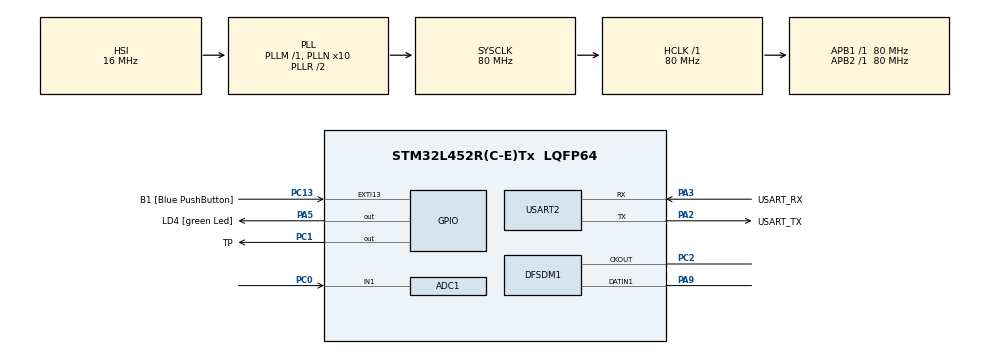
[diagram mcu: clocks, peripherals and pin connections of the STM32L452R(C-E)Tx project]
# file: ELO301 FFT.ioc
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ADC1.Channel-0\#ChannelRegularConversion=ADC_CHANNEL_1
ADC1.ClockPrescaler=ADC_CLOCK_ASYNC_DIV128
ADC1.ContinuousConvMode=ENABLE
ADC1.NbrOfConversionFlag=1
ADC1.OffsetNumber-0\#ChannelRegularConversion=ADC_OFFSET_NONE
ADC1.Rank-0\#ChannelRegularConversion=1
ADC1.SamplingTime-0\#ChannelRegularConversion=ADC_SAMPLETIME_12CYCLES_5
ADC1.master=1
DFSDM1.Filter_regChannel_FIL0=DFSDM_CHANNEL_0
DFSDM1.Fosr_FIL0=500
Mcu.Family=STM32L4
Mcu.Name=STM32L452R(C-E)Tx
Mcu.Package=LQFP64
NVIC.ADC1_IRQn=true\:0\:0\:false\:false\:true\:true\:true\:true
NVIC.DFSDM1_FLT0_IRQn=true\:0\:0\:false\:false\:true\:true\:true\:true
NVIC.PriorityGroup=NVIC_PRIORITYGROUP_4
PA13\ (JTMS/SWDIO).GPIO_Label=TMS
PA13\ (JTMS/SWDIO).Mode=Serial_Wire
PA13\ (JTMS/SWDIO).Signal=SYS_JTMS-SWDIO
PA14\ (JTCK/SWCLK).GPIO_Label=TCK
PA14\ (JTCK/SWCLK).Mode=Serial_Wire
PA14\ (JTCK/SWCLK).Signal=SYS_JTCK-SWCLK
PA2.GPIO_Label=USART_TX
PA2.GPIO_Mode=GPIO_MODE_AF_PP
PA2.GPIO_PuPd=GPIO_NOPULL
PA2.GPIO_Speed=GPIO_SPEED_FREQ_VERY_HIGH
PA2.Mode=Asynchronous
PA2.Signal=USART2_TX
PA3.GPIO_Label=USART_RX
PA3.GPIO_Mode=GPIO_MODE_AF_PP
PA3.GPIO_PuPd=GPIO_NOPULL
PA3.GPIO_Speed=GPIO_SPEED_FREQ_VERY_HIGH
PA3.Mode=Asynchronous
PA3.Signal=USART2_RX
PA5.GPIO_Label=LD4 [green Led]
PA5.GPIO_ModeDefaultOutputPP=GPIO_MODE_OUTPUT_PP
PA5.GPIO_PuPd=GPIO_NOPULL
PA5.GPIO_Speed=GPIO_SPEED_FREQ_LOW
PA5.Signal=GPIO_Output
PA9.Signal=S_DATAIN1DFSDM1
PB3\ (JTDO/TRACESWO).GPIO_Label=SWO
PB3\ (JTDO/TRACESWO).Signal=SYS_JTDO-SWO
PC0.Signal=ADCx_IN1
PC1.GPIO_Label=TP
PC1.Signal=GPIO_Output
PC13.GPIO_Label=B1 [Blue PushButton]
PC13.GPIO_ModeDefaultEXTI=GPIO_MODE_IT_FALLING
PC13.GPIO_PuPd=GPIO_NOPULL
PC13.Signal=GPXTI13
PC14-OSC32_IN\ (PC14).Mode=LSE-External-Oscillator
PC14-OSC32_IN\ (PC14).Signal=RCC_OSC32_IN
PC15-OSC32_OUT\ (PC15).Mode=LSE-External-Oscillator
PC15-OSC32_OUT\ (PC15).Signal=RCC_OSC32_OUT
PC2.Signal=S_CKOUTDFSDM1
PH0-OSC_IN\ (PH0).Signal=RCC_OSC_IN
PH1-OSC_OUT\ (PH1).Signal=RCC_OSC_OUT
ProjectManager.HeapSize=0x200
ProjectManager.StackSize=0x400
ProjectManager.TargetToolchain=STM32CubeIDE
RCC.ADCFreq_Value=64000000
RCC.AHBFreq_Value=80000000
RCC.APB1Freq_Value=80000000
RCC.APB1TimFreq_Value=80000000
RCC.APB2Freq_Value=80000000
RCC.APB2TimFreq_Value=80000000
RCC.CortexFreq_Value=80000000
RCC.HCLKFreq_Value=80000000
RCC.HSE_VALUE=8000000
RCC.HSI48_VALUE=48000000
RCC.HSI_VALUE=16000000
RCC.MSI_VALUE=4000000
RCC.PLLN=10
RCC.PLLSourceVirtual=RCC_PLLSOURCE_HSI
RCC.PREFETCH_ENABLE=1
RCC.SYSCLKFreq_VALUE=80000000
RCC.SYSCLKSource=RCC_SYSCLKSOURCE_PLLCLK
RCC.USBFreq_Value=64000000
RCC.VCOOutputFreq_Value=160000000
SH.ADCx_IN1.0=ADC1_IN1,IN1-Single-Ended
SH.S_CKOUTDFSDM1.0=DFSDM1_CKOUT,PDM_SPI_Input_from_ch01_and_Internal_Clock
SH.S_CKOUTDFSDM1.1=DFSDM1_CKOUT,CKOUT
SH.S_DATAIN1DFSDM1.0=DFSDM1_DATIN1,PDM_SPI_Input_from_ch01_and_Internal_Clock
USART2.VirtualMode-Asynchronous=VM_ASYNC
board=NUCLEO-L452RE

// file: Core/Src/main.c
/* USER CODE BEGIN Header */
/**
  ******************************************************************************
  * @file           : main.c
  * @brief          : Main program body
  ******************************************************************************
  * @attention
  *
  * Copyright (c) 2024 STMicroelectronics.
  * All rights reserved.
  *
  * This software is licensed under terms that can be found in the LICENSE file
  * in the root directory of this software component.
  * If no LICENSE file comes with this software, it is provided AS-IS.
  *
  ******************************************************************************
  */
/* USER CODE END Header */
#include "main.h"

/* USER CODE BEGIN Includes */
#include <stdint.h>
#include <stdio.h>
#include "fft.h"
#include "arm_math.h"
#include "arm_const_structs.h"
/* USER CODE END Includes */

/* USER CODE BEGIN PD */
#define TEST_LENGTH_SAMPLES 2048
#define TOL 2
/* USER CODE END PD */

ADC_HandleTypeDef hadc1;

DFSDM_Filter_HandleTypeDef hdfsdm1_filter0;
DFSDM_Channel_HandleTypeDef hdfsdm1_channel0;

UART_HandleTypeDef huart2;

/* USER CODE BEGIN PV */
/* -------------------------------------------------------------------
* External Input and Output buffer Declarations for FFT Bin Example
* ------------------------------------------------------------------- */
extern float32_t testInput_f32_10khz[TEST_LENGTH_SAMPLES];
static float32_t testOutput[TEST_LENGTH_SAMPLES/2];

uint32_t fftSize = 1024;
uint32_t ifftFlag = 0;
uint32_t doBitReverse = 1;

static uint8_t adc_status = 0;
uint16_t adc_value = 0;
uint8_t mic_status = 0;
float32_t mic_value = 0;

/* Reference index at which max energy of bin ocuurs */
uint32_t refIndex = 213, testIndex = 0;
/* USER CODE END PV */

void SystemClock_Config(void);
static void MX_GPIO_Init(void);
static void MX_USART2_UART_Init(void);
static void MX_ADC1_Init(void);
static void MX_DFSDM1_Init(void);

int main(void)
{

  /* USER CODE BEGIN 1 */
  uint16_t sample_counter = 0;

  /* USER CODE END 1 */

  /* MCU Configuration--------------------------------------------------------*/

  /* Reset of all peripherals, Initializes the Flash interface and the Systick. */
  HAL_Init();

  /* Configure the system clock */
  SystemClock_Config();

  /* Initialize all configured peripherals */
  MX_GPIO_Init();
  MX_USART2_UART_Init();
  MX_ADC1_Init();
  MX_DFSDM1_Init();
  /* USER CODE BEGIN 2 */
  arm_status status;
  float32_t maxValue;

  HAL_DFSDM_FilterRegularStart_IT(&hdfsdm1_filter0);
  status = ARM_MATH_SUCCESS;

#if 0
  /* Process the data through the CFFT/CIFFT module */
  arm_cfft_f32(&arm_cfft_sR_f32_len1024, testInput_f32_10khz, ifftFlag, doBitReverse);

  /* Process the data through the Complex Magnitude Module for
  calculating the magnitude at each bin */
  arm_cmplx_mag_f32(testInput_f32_10khz, testOutput, fftSize);

  /* Calculates maxValue and returns corresponding BIN value */
  arm_max_f32(testOutput, fftSize, &maxValue, &testIndex);

  if (testIndex !=  refIndex)
  {
    status = ARM_MATH_TEST_FAILURE;
  }
#endif
  /* USER CODE END 2 */

  /* Infinite loop */
  /* USER CODE BEGIN WHILE */
  HAL_ADC_Start_IT( &hadc1 );

  while (1)
  {
    if (adc_status == 1)
    {
      /* Start filling testInput_f32_10khz buffer up to sample_counter is full */
      adc_value = HAL_ADC_GetValue( &hadc1 );

#if 1
      testInput_f32_10khz[sample_counter++] = (float32_t)mic_value;//adc_value;
      testInput_f32_10khz[sample_counter++] = 0;
#else
      sample_counter+=2;
#endif
      adc_status = 0;
      /* Check if the input buffer is full */
      if (sample_counter >= TEST_LENGTH_SAMPLES)
      {
        /* Process the data through the CFFT/CIFFT module */
        arm_cfft_f32(&arm_cfft_sR_f32_len1024, testInput_f32_10khz, ifftFlag, doBitReverse);

        /* Process the data through the Complex Magnitude Module for
        calculating the magnitude at each bin */
        arm_cmplx_mag_f32(testInput_f32_10khz, testOutput, fftSize);

        /* Calculates maxValue and returns corresponding BIN value */
        arm_max_f32(testOutput+1, fftSize-1, &maxValue, &testIndex);

        /* Reset the sample counter */
        sample_counter = 0;

        //printf( "%u\t%d\r\n", testIndex, maxValue );

        float32_t fundamental_freq = (float32_t)testIndex * TEST_LENGTH_SAMPLES / fftSize;

        if (fundamental_freq > testOutput[testIndex] + TOL) {
                //HAL_GPIO_WritePin(LED_GPIO_PORT, LED_HIGH_FREQ_PIN, GPIO_PIN_SET);
               //HAL_GPIO_WritePin(LED_GPIO_PORT, LED_LOW_FREQ_PIN, GPIO_PIN_RESET);
                printf("\r\n Frecuencia mayor a referencia\n\r");
                printf("\r\nAmplitud fundamental: %.2f Hz, : %i  \n\n", testOutput[testIndex], testIndex);
            } else if (fundamental_freq < testOutput[testIndex] - TOL) {
            	// HAL_GPIO_WritePin(LED_GPIO_PORT, LED_HIGH_FREQ_PIN, GPIO_PIN_RESET);
            	//HAL_GPIO_WritePin(LED_GPIO_PORT, LED_LOW_FREQ_PIN, GPIO_PIN_SET);
                printf("\r\n Frecuencia menor a referencia\n\r");
                printf("\r\nFrecuencia fundamental: %.2f Hz, f_ref: %i  \n\n", fundamental_freq, testOutput[testIndex]);
            } else {
            	//HAL_GPIO_WritePin(LED_GPIO_PORT, LED_HIGH_FREQ_PIN, GPIO_PIN_SET);
            	//HAL_GPIO_WritePin(LED_GPIO_PORT, LED_LOW_FREQ_PIN, GPIO_PIN_SET);
                printf("\r\n Frecuencia dentro de la tolerancia\n\r");
                printf("\r\nFrecuencia fundamental: %.2f Hz, f_ref: %i  \n\n", fundamental_freq, testOutput[testIndex]);
            }

           HAL_Delay(1000);

        //for(;;);
      }
    }
    /* USER CODE END WHILE */

  }
}

void SystemClock_Config(void)
{
  RCC_OscInitTypeDef RCC_OscInitStruct = {0};
  RCC_ClkInitTypeDef RCC_ClkInitStruct = {0};

  /** Configure the main internal regulator output voltage
  */
  if (HAL_PWREx_ControlVoltageScaling(PWR_REGULATOR_VOLTAGE_SCALE1) != HAL_OK)
  {
    Error_Handler();
  }

  /** Initializes the RCC Oscillators according to the specified parameters
  * in the RCC_OscInitTypeDef structure.
  */
  RCC_OscInitStruct.OscillatorType = RCC_OSCILLATORTYPE_HSI;
  RCC_OscInitStruct.HSIState = RCC_HSI_ON;
  RCC_OscInitStruct.HSICalibrationValue = 64;
  RCC_OscInitStruct.PLL.PLLState = RCC_PLL_ON;
  RCC_OscInitStruct.PLL.PLLSource = RCC_PLLSOURCE_HSI;
  RCC_OscInitStruct.PLL.PLLM = 1;
  RCC_OscInitStruct.PLL.PLLN = 10;
  RCC_OscInitStruct.PLL.PLLP = RCC_PLLP_DIV7;
  RCC_OscInitStruct.PLL.PLLQ = RCC_PLLQ_DIV2;
  RCC_OscInitStruct.PLL.PLLR = RCC_PLLR_DIV2;
  if (HAL_RCC_OscConfig(&RCC_OscInitStruct) != HAL_OK)
  {
    Error_Handler();
  }

  /** Initializes the CPU, AHB and APB buses clocks
  */
  RCC_ClkInitStruct.ClockType = RCC_CLOCKTYPE_HCLK|RCC_CLOCKTYPE_SYSCLK
                              |RCC_CLOCKTYPE_PCLK1|RCC_CLOCKTYPE_PCLK2;
  RCC_ClkInitStruct.SYSCLKSource = RCC_SYSCLKSOURCE_PLLCLK;
  RCC_ClkInitStruct.AHBCLKDivider = RCC_SYSCLK_DIV1;
  RCC_ClkInitStruct.APB1CLKDivider = RCC_HCLK_DIV1;
  RCC_ClkInitStruct.APB2CLKDivider = RCC_HCLK_DIV1;

  if (HAL_RCC_ClockConfig(&RCC_ClkInitStruct, FLASH_LATENCY_4) != HAL_OK)
  {
    Error_Handler();
  }
}

static void MX_ADC1_Init(void)
{

  ADC_ChannelConfTypeDef sConfig = {0};

  /** Common config
  */
  hadc1.Instance = ADC1;
  hadc1.Init.ClockPrescaler = ADC_CLOCK_ASYNC_DIV128;
  hadc1.Init.Resolution = ADC_RESOLUTION_12B;
  hadc1.Init.DataAlign = ADC_DATAALIGN_RIGHT;
  hadc1.Init.ScanConvMode = ADC_SCAN_DISABLE;
  hadc1.Init.EOCSelection = ADC_EOC_SINGLE_CONV;
  hadc1.Init.LowPowerAutoWait = DISABLE;
  hadc1.Init.ContinuousConvMode = ENABLE;
  hadc1.Init.NbrOfConversion = 1;
  hadc1.Init.DiscontinuousConvMode = DISABLE;
  hadc1.Init.ExternalTrigConv = ADC_SOFTWARE_START;
  hadc1.Init.ExternalTrigConvEdge = ADC_EXTERNALTRIGCONVEDGE_NONE;
  hadc1.Init.DMAContinuousRequests = DISABLE;
  hadc1.Init.Overrun = ADC_OVR_DATA_PRESERVED;
  hadc1.Init.OversamplingMode = DISABLE;
  hadc1.Init.DFSDMConfig = ADC_DFSDM_MODE_DISABLE;
  if (HAL_ADC_Init(&hadc1) != HAL_OK)
  {
    Error_Handler();
  }

  /** Configure Regular Channel
  */
  sConfig.Channel = ADC_CHANNEL_1;
  sConfig.Rank = ADC_REGULAR_RANK_1;
  sConfig.SamplingTime = ADC_SAMPLETIME_12CYCLES_5;
  sConfig.SingleDiff = ADC_SINGLE_ENDED;
  sConfig.OffsetNumber = ADC_OFFSET_NONE;
  sConfig.Offset = 0;
  if (HAL_ADC_ConfigChannel(&hadc1, &sConfig) != HAL_OK)
  {
    Error_Handler();
  }

}

static void MX_DFSDM1_Init(void)
{

  hdfsdm1_filter0.Instance = DFSDM1_Filter0;
  hdfsdm1_filter0.Init.RegularParam.Trigger = DFSDM_FILTER_SW_TRIGGER;
  hdfsdm1_filter0.Init.RegularParam.FastMode = DISABLE;
  hdfsdm1_filter0.Init.RegularParam.DmaMode = DISABLE;
  hdfsdm1_filter0.Init.FilterParam.SincOrder = DFSDM_FILTER_FASTSINC_ORDER;
  hdfsdm1_filter0.Init.FilterParam.Oversampling = 500;
  hdfsdm1_filter0.Init.FilterParam.IntOversampling = 1;
  if (HAL_DFSDM_FilterInit(&hdfsdm1_filter0) != HAL_OK)
  {
    Error_Handler();
  }
  hdfsdm1_channel0.Instance = DFSDM1_Channel0;
  hdfsdm1_channel0.Init.OutputClock.Activation = ENABLE;
  hdfsdm1_channel0.Init.OutputClock.Selection = DFSDM_CHANNEL_OUTPUT_CLOCK_SYSTEM;
  hdfsdm1_channel0.Init.OutputClock.Divider = 2;
  hdfsdm1_channel0.Init.Input.Multiplexer = DFSDM_CHANNEL_EXTERNAL_INPUTS;
  hdfsdm1_channel0.Init.Input.DataPacking = DFSDM_CHANNEL_STANDARD_MODE;
  hdfsdm1_channel0.Init.Input.Pins = DFSDM_CHANNEL_FOLLOWING_CHANNEL_PINS;
  hdfsdm1_channel0.Init.SerialInterface.Type = DFSDM_CHANNEL_SPI_RISING;
  hdfsdm1_channel0.Init.SerialInterface.SpiClock = DFSDM_CHANNEL_SPI_CLOCK_INTERNAL;
  hdfsdm1_channel0.Init.Awd.FilterOrder = DFSDM_CHANNEL_FASTSINC_ORDER;
  hdfsdm1_channel0.Init.Awd.Oversampling = 1;
  hdfsdm1_channel0.Init.Offset = 0;
  hdfsdm1_channel0.Init.RightBitShift = 0x00;
  if (HAL_DFSDM_ChannelInit(&hdfsdm1_channel0) != HAL_OK)
  {
    Error_Handler();
  }
  if (HAL_DFSDM_FilterConfigRegChannel(&hdfsdm1_filter0, DFSDM_CHANNEL_0, DFSDM_CONTINUOUS_CONV_ON) != HAL_OK)
  {
    Error_Handler();
  }

}

static void MX_USART2_UART_Init(void)
{

  huart2.Instance = USART2;
  huart2.Init.BaudRate = 115200;
  huart2.Init.WordLength = UART_WORDLENGTH_8B;
  huart2.Init.StopBits = UART_STOPBITS_1;
  huart2.Init.Parity = UART_PARITY_NONE;
  huart2.Init.Mode = UART_MODE_TX_RX;
  huart2.Init.HwFlowCtl = UART_HWCONTROL_NONE;
  huart2.Init.OverSampling = UART_OVERSAMPLING_16;
  huart2.Init.OneBitSampling = UART_ONE_BIT_SAMPLE_DISABLE;
  huart2.AdvancedInit.AdvFeatureInit = UART_ADVFEATURE_NO_INIT;
  if (HAL_UART_Init(&huart2) != HAL_OK)
  {
    Error_Handler();
  }

}

static void MX_GPIO_Init(void)
{
  GPIO_InitTypeDef GPIO_InitStruct = {0};

  /* GPIO Ports Clock Enable */
  __HAL_RCC_GPIOC_CLK_ENABLE();
  __HAL_RCC_GPIOH_CLK_ENABLE();
  __HAL_RCC_GPIOA_CLK_ENABLE();
  __HAL_RCC_GPIOB_CLK_ENABLE();

  /*Configure GPIO pin Output Level */
  HAL_GPIO_WritePin(TP_GPIO_Port, TP_Pin, GPIO_PIN_RESET);

  /*Configure GPIO pin Output Level */
  HAL_GPIO_WritePin(LD4_GPIO_Port, LD4_Pin, GPIO_PIN_RESET);

  /*Configure GPIO pin : B1_Pin */
  GPIO_InitStruct.Pin = B1_Pin;
  GPIO_InitStruct.Mode = GPIO_MODE_IT_FALLING;
  GPIO_InitStruct.Pull = GPIO_NOPULL;
  HAL_GPIO_Init(B1_GPIO_Port, &GPIO_InitStruct);

  /*Configure GPIO pin : TP_Pin */
  GPIO_InitStruct.Pin = TP_Pin;
  GPIO_InitStruct.Mode = GPIO_MODE_OUTPUT_PP;
  GPIO_InitStruct.Pull = GPIO_NOPULL;
  GPIO_InitStruct.Speed = GPIO_SPEED_FREQ_LOW;
  HAL_GPIO_Init(TP_GPIO_Port, &GPIO_InitStruct);

  /*Configure GPIO pin : LD4_Pin */
  GPIO_InitStruct.Pin = LD4_Pin;
  GPIO_InitStruct.Mode = GPIO_MODE_OUTPUT_PP;
  GPIO_InitStruct.Pull = GPIO_NOPULL;
  GPIO_InitStruct.Speed = GPIO_SPEED_FREQ_LOW;
  HAL_GPIO_Init(LD4_GPIO_Port, &GPIO_InitStruct);

}

/* USER CODE BEGIN 4 */
void HAL_ADC_ConvCpltCallback(ADC_HandleTypeDef *hadc)
{
  adc_status =1;
  HAL_GPIO_TogglePin(TP_GPIO_Port, TP_Pin);
}
void HAL_DFSM_FilterRegConvCpltCallback(
		DFSDM_Filter_HandleTypeDef *hdfsdm_filter) {
	mic_status = 1;
	HAL_GPIO_TogglePin(LD4_GPIO_Port, LD4_Pin);
}

void HAL_DFSDM_FilterErrorCallback(DFSDM_Filter_HandleTypeDef *hdfsdm_filter) {
	uint16_t mic_value = 0;
	mic_value = HAL_DFSDM_FilterGetRegularValue(&hdfsdm1_filter0,0);
}

/* Add _write function to print over the uart */
int _write( int file, char *ptr, int len )
{
  HAL_UART_Transmit( &huart2, (uint8_t*) ptr, len, 50 );
  return len;
}

/* USER CODE END 4 */

void Error_Handler(void)
{
  __disable_irq();
  while (1)
  {
  }
}
